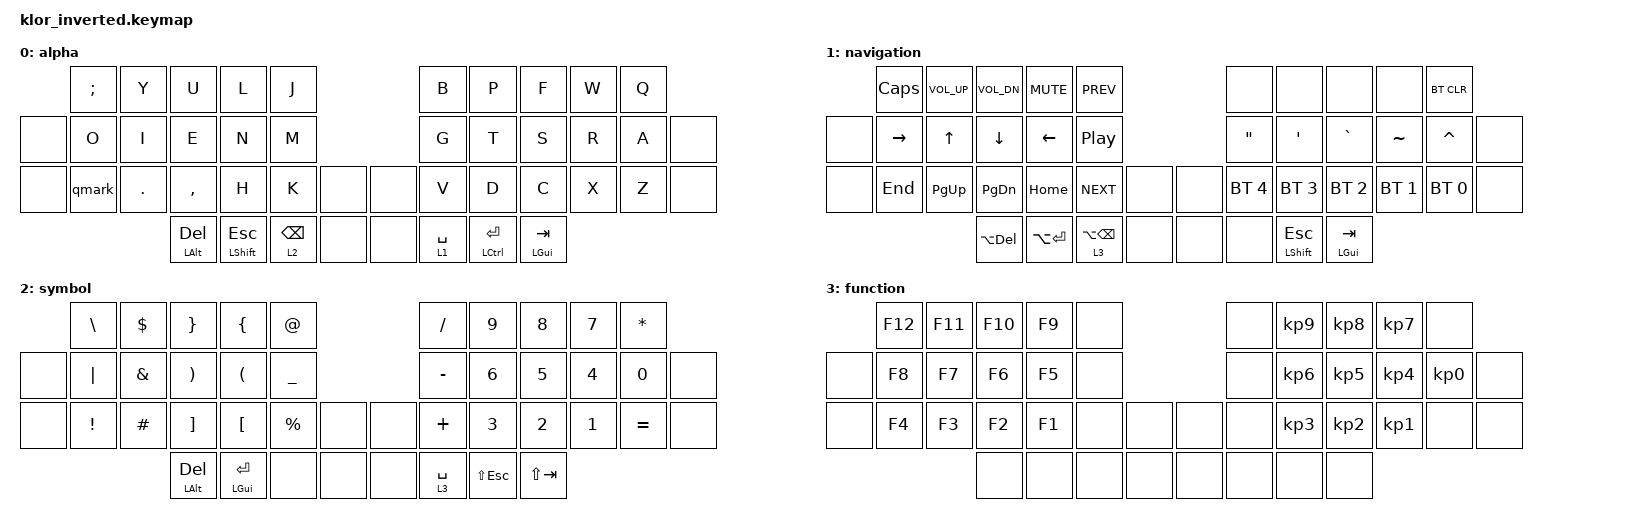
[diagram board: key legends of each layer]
#include <behaviors.dtsi>
#include <dt-bindings/zmk/bt.h>
#include <dt-bindings/zmk/keys.h>

/ {
    behaviors {
        qmark: qmark {
            compatible = "zmk,behavior-mod-morph";
            label = "QMARK";
            bindings = <&kp QMARK>, <&kp EXCL>;

            #binding-cells = <0>;
            mods = <(MOD_LSFT)>;
        };

        ht: holdtap {
            compatible = "zmk,behavior-hold-tap";
            #binding-cells = <2>;
            tapping-term-ms = <200>;
            quick_tap_ms = <0>;
            flavor = "tap-preferred";
            bindings = <&kp>, <&kp>;
        };
    };

    keymap {
        compatible = "zmk,keymap";

        alpha {
            bindings = <
       &kp SEMI  &kp Y    &kp U         &kp L          &kp J                        &kp B        &kp P          &kp F         &kp W  &kp Q
&none  &kp O     &kp I    &kp E         &kp N          &kp M                        &kp G        &kp T          &kp S         &kp R  &kp A  &none
&none  &qmark    &kp DOT  &kp COMMA     &kp H          &kp K        &none    &none  &kp V        &kp D          &kp C         &kp X  &kp Z  &none
                          &ht LALT DEL  &ht LSHFT ESC  &lt 2 BSPC   &none    &none  &lt 1 SPACE  &ht LCTRL RET  &ht LGUI TAB
            >;
        };

        navigation {
            bindings = <
       &kp CAPS   &kp C_VOL_UP  &kp C_VOL_DN  &kp C_MUTE   &kp C_PREV                         &none         &none          &none         &none         &bt BT_CLR
&none  &kp RIGHT  &kp UP        &kp DOWN      &kp LEFT     &kp C_PLAY_PAUSE                   &kp DQT       &kp SQT        &kp GRAVE     &kp TILDE     &kp CARET     &none
&none  &kp END    &kp PG_UP     &kp PG_DN     &kp HOME     &kp C_NEXT         &none    &none  &bt BT_SEL 4  &bt BT_SEL 3   &bt BT_SEL 2  &bt BT_SEL 1  &bt BT_SEL 0  &none
                                &kp LA(DEL)   &kp LA(RET)  &lt 3 LA(BSPC)     &none    &none  &none         &ht LSHFT ESC  &ht LGUI TAB
            >;
        };

        symbol {
            bindings = <
       &kp BSLH  &kp DLLR  &kp RBRC      &kp LBRC      &kp AT                     &kp FSLH     &kp N9       &kp N8       &kp N7  &kp ASTRK
&none  &kp PIPE  &kp AMPS  &kp RPAR      &kp LPAR      &kp UNDER                  &kp MINUS    &kp N6       &kp N5       &kp N4  &kp N0     &none
&none  &kp EXCL  &kp HASH  &kp RBKT      &kp LBKT      &kp PRCNT  &none    &none  &kp PLUS     &kp N3       &kp N2       &kp N1  &kp EQUAL  &none
                           &ht LALT DEL  &ht LGUI RET  &none      &none    &none  &lt 3 SPACE  &kp LS(ESC)  &kp LS(TAB)
            >;
        };

        function {
            bindings = <
       &kp F12  &kp F11  &kp F10  &kp F9  &none                  &none  &kp KP_N9  &kp KP_N8  &kp KP_N7  &none
&none  &kp F8   &kp F7   &kp F6   &kp F5  &none                  &none  &kp KP_N6  &kp KP_N5  &kp KP_N4  &kp KP_N0  &none
&none  &kp F4   &kp F3   &kp F2   &kp F1  &none  &none    &none  &none  &kp KP_N3  &kp KP_N2  &kp KP_N1  &none      &none
                         &none    &none   &none  &none    &none  &none  &none      &none
            >;
        };
    };
};

